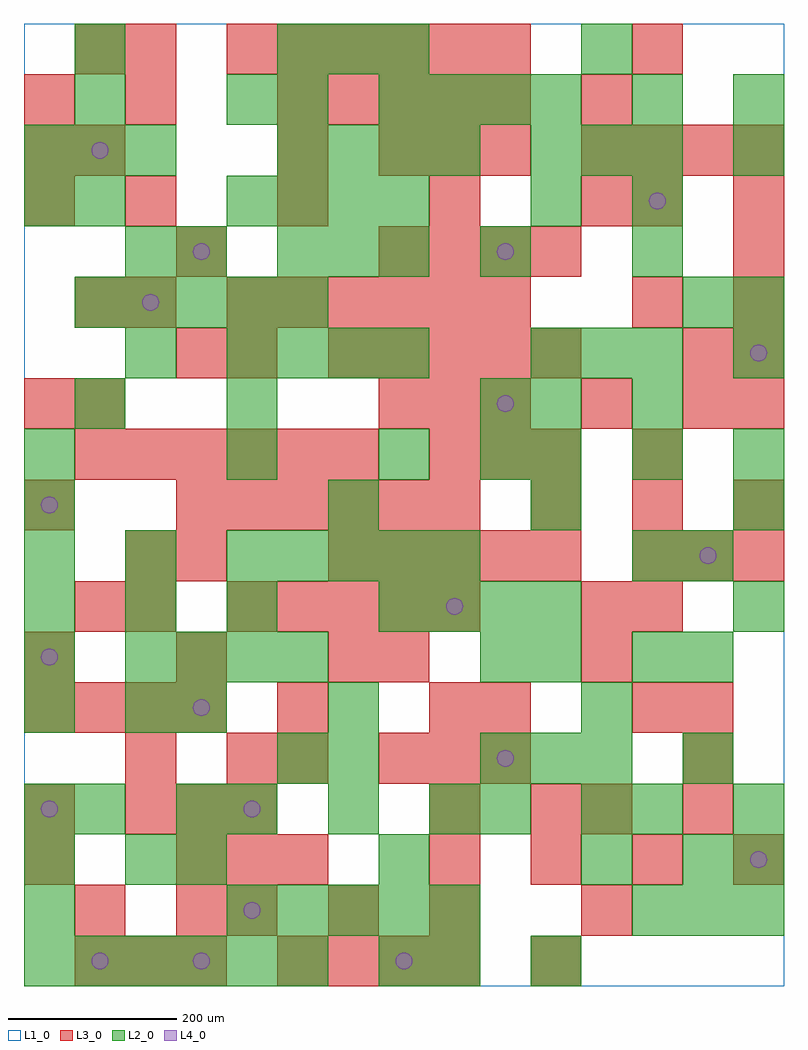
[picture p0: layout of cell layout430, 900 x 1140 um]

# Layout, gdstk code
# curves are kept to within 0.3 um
import gdstk
lib = gdstk.Library(unit=1e-6, precision=1e-09)
def R(c, l, rs):  # rectangles x0, y0, x1, y1
    for r in rs: c.add(gdstk.rectangle(r[:2], r[2:], *l))
def A(c, l, x, y, w, h, nx, ny, dx, dy):  # array of equal rectangles
    R(c, l, [(x+i*dx, y+j*dy, x+i*dx+w, y+j*dy+h) for i in range(nx) for j in range(ny)])
def P(c, l, *ps):  # polygons
    for p in ps: c.add(gdstk.Polygon(p, *l))
L1_0 = (1, 0)
L2_0 = (2, 0)
L3_0 = (3, 0)
L4_0 = (4, 0)

layout430 = lib.new_cell('layout430')
R(layout430, L1_0, [(0,0,900,1140)])
A(layout430, L2_0, 0, 0, 60, 60, 6, 1, 60, 0)
A(layout430, L2_0, 0, 60, 60, 60, 1, 3, 0, 60)
A(layout430, L2_0, 240, 60, 60, 60, 5, 1, 60, 0)
A(layout430, L2_0, 720, 60, 60, 60, 3, 1, 60, 0)
A(layout430, L2_0, 180, 120, 60, 60, 3, 1, 240, 0)
A(layout430, L2_0, 780, 120, 60, 60, 1, 4, 0, 120)
A(layout430, L2_0, 240, 180, 60, 60, 3, 1, 120, 0)
A(layout430, L2_0, 540, 240, 60, 60, 3, 1, 60, 0)
A(layout430, L2_0, 120, 360, 60, 60, 4, 1, 60, 0)
A(layout430, L2_0, 0, 420, 60, 60, 3, 2, 120, 60)
A(layout430, L2_0, 420, 420, 60, 60, 4, 2, 60, 600)
A(layout430, L2_0, 300, 480, 60, 60, 4, 2, 60, 480)
A(layout430, L2_0, 720, 480, 60, 60, 1, 3, 0, 180)
A(layout430, L2_0, 360, 540, 60, 60, 3, 1, 240, 0)
A(layout430, L2_0, 600, 600, 60, 60, 3, 1, 120, 0)
A(layout430, L2_0, 240, 720, 60, 60, 4, 2, 60, 180)
A(layout430, L2_0, 600, 720, 60, 60, 3, 2, 60, 240)
A(layout430, L2_0, 60, 780, 60, 60, 5, 1, 60, 0)
A(layout430, L2_0, 300, 840, 60, 60, 3, 2, 60, 240)
A(layout430, L2_0, 0, 960, 60, 60, 3, 1, 60, 0)
R(layout430, L2_0, [(420,0,480,60), (480,0,540,60), (600,0,660,60), (120,120,180,180), (840,120,900,180), (60,180,120,240), (180,180,240,240), (540,180,600,240), (660,180,720,240), (720,180,780,240), (840,180,900,240), (300,240,360,300), (360,240,420,300), (0,300,60,360), (120,300,180,360), (180,300,240,360), (360,300,420,360), (660,300,720,360), (0,360,60,420), (540,360,600,420), (600,360,660,420), (720,360,780,420), (840,420,900,480), (0,540,60,600), (0,600,60,660), (240,600,300,660), (420,600,480,660), (540,600,600,660), (60,660,120,720), (240,660,300,720), (540,660,600,720), (600,660,660,720), (120,720,180,780), (840,720,900,780), (780,780,840,840), (840,780,900,840), (120,840,180,900), (180,840,240,900), (540,840,600,900), (0,900,60,960), (60,900,120,960), (600,900,660,960), (720,900,780,960), (840,960,900,1020), (60,1020,120,1080), (240,1020,300,1080), (300,1020,360,1080), (720,1020,780,1080), (840,1020,900,1080), (60,1080,120,1140), (660,1080,720,1140)])
A(layout430, L3_0, 60, 0, 60, 60, 3, 1, 60, 0)
A(layout430, L3_0, 300, 0, 60, 60, 4, 1, 60, 0)
A(layout430, L3_0, 240, 60, 60, 60, 3, 1, 120, 0)
A(layout430, L3_0, 180, 120, 60, 60, 3, 1, 60, 0)
A(layout430, L3_0, 480, 120, 60, 60, 4, 1, 120, 0)
A(layout430, L3_0, 120, 180, 60, 60, 3, 1, 60, 0)
A(layout430, L3_0, 780, 180, 60, 60, 1, 3, 0, 60)
A(layout430, L3_0, 420, 240, 60, 60, 3, 2, 60, 420)
A(layout430, L3_0, 0, 300, 60, 60, 4, 1, 60, 0)
A(layout430, L3_0, 0, 360, 60, 60, 3, 1, 180, 0)
A(layout430, L3_0, 240, 420, 60, 60, 5, 1, 60, 0)
A(layout430, L3_0, 720, 420, 60, 60, 1, 3, 0, 180)
A(layout430, L3_0, 360, 480, 60, 60, 5, 2, 60, 240)
A(layout430, L3_0, 720, 480, 60, 60, 3, 1, 60, 0)
A(layout430, L3_0, 180, 540, 60, 60, 6, 1, 60, 0)
A(layout430, L3_0, 600, 540, 60, 60, 3, 1, 120, 0)
A(layout430, L3_0, 60, 600, 60, 60, 6, 1, 60, 0)
A(layout430, L3_0, 480, 600, 60, 60, 3, 1, 60, 0)
A(layout430, L3_0, 840, 660, 60, 60, 1, 5, 0, 60)
A(layout430, L3_0, 240, 780, 60, 60, 6, 2, 60, 300)
A(layout430, L3_0, 420, 840, 60, 60, 4, 1, 60, 0)
A(layout430, L3_0, 0, 900, 60, 60, 1, 3, 0, 60)
A(layout430, L3_0, 120, 900, 60, 60, 4, 1, 180, 0)
A(layout430, L3_0, 420, 960, 60, 60, 3, 1, 60, 0)
A(layout430, L3_0, 660, 960, 60, 60, 4, 1, 60, 0)
A(layout430, L3_0, 300, 1020, 60, 60, 5, 1, 60, 0)
R(layout430, L3_0, [(600,0,660,60), (60,60,120,120), (180,60,240,120), (660,60,720,120), (0,120,60,180), (0,180,60,240), (480,180,540,240), (600,180,660,240), (660,180,720,240), (120,240,180,300), (240,240,300,300), (300,240,360,300), (300,300,360,360), (480,300,540,360), (540,300,600,360), (720,300,780,360), (420,360,480,420), (660,360,720,420), (60,420,120,480), (120,420,180,480), (660,420,720,480), (120,480,180,540), (180,480,240,540), (0,540,60,600), (0,660,60,720), (60,660,120,720), (660,660,720,720), (780,660,840,720), (180,720,240,780), (240,720,300,780), (780,720,840,780), (60,780,120,840), (120,780,180,840), (180,840,240,900), (720,900,780,960), (60,960,120,1020), (300,960,360,1020), (120,1020,180,1080), (660,1020,720,1080), (60,1080,120,1140), (120,1080,180,1140), (720,1080,780,1140)])
P(layout430, L4_0, [(40,210),(39.239,213.827),(37.071,217.071),(33.827,219.239),(30,220),(26.173,219.239),(22.929,217.071),(20.761,213.827),(20,210),(20.761,206.173),(22.929,202.929),(26.173,200.761),(30,200),(33.827,200.761),(37.071,202.929),(39.239,206.173)],
  [(40,390),(39.239,393.827),(37.071,397.071),(33.827,399.239),(30,400),(26.173,399.239),(22.929,397.071),(20.761,393.827),(20,390),(20.761,386.173),(22.929,382.929),(26.173,380.761),(30,380),(33.827,380.761),(37.071,382.929),(39.239,386.173)],
  [(40,570),(39.239,573.827),(37.071,577.071),(33.827,579.239),(30,580),(26.173,579.239),(22.929,577.071),(20.761,573.827),(20,570),(20.761,566.173),(22.929,562.929),(26.173,560.761),(30,560),(33.827,560.761),(37.071,562.929),(39.239,566.173)],
  [(100,30),(99.239,33.827),(97.071,37.071),(93.827,39.239),(90,40),(86.173,39.239),(82.929,37.071),(80.761,33.827),(80,30),(80.761,26.173),(82.929,22.929),(86.173,20.761),(90,20),(93.827,20.761),(97.071,22.929),(99.239,26.173)],
  [(100,990),(99.239,993.827),(97.071,997.071),(93.827,999.239),(90,1000),(86.173,999.239),(82.929,997.071),(80.761,993.827),(80,990),(80.761,986.173),(82.929,982.929),(86.173,980.761),(90,980),(93.827,980.761),(97.071,982.929),(99.239,986.173)],
  [(160,810),(159.239,813.827),(157.071,817.071),(153.827,819.239),(150,820),(146.173,819.239),(142.929,817.071),(140.761,813.827),(140,810),(140.761,806.173),(142.929,802.929),(146.173,800.761),(150,800),(153.827,800.761),(157.071,802.929),(159.239,806.173)],
  [(220,30),(219.239,33.827),(217.071,37.071),(213.827,39.239),(210,40),(206.173,39.239),(202.929,37.071),(200.761,33.827),(200,30),(200.761,26.173),(202.929,22.929),(206.173,20.761),(210,20),(213.827,20.761),(217.071,22.929),(219.239,26.173)],
  [(220,330),(219.239,333.827),(217.071,337.071),(213.827,339.239),(210,340),(206.173,339.239),(202.929,337.071),(200.761,333.827),(200,330),(200.761,326.173),(202.929,322.929),(206.173,320.761),(210,320),(213.827,320.761),(217.071,322.929),(219.239,326.173)],
  [(220,870),(219.239,873.827),(217.071,877.071),(213.827,879.239),(210,880),(206.173,879.239),(202.929,877.071),(200.761,873.827),(200,870),(200.761,866.173),(202.929,862.929),(206.173,860.761),(210,860),(213.827,860.761),(217.071,862.929),(219.239,866.173)],
  [(280,90),(279.239,93.827),(277.071,97.071),(273.827,99.239),(270,100),(266.173,99.239),(262.929,97.071),(260.761,93.827),(260,90),(260.761,86.173),(262.929,82.929),(266.173,80.761),(270,80),(273.827,80.761),(277.071,82.929),(279.239,86.173)],
  [(280,210),(279.239,213.827),(277.071,217.071),(273.827,219.239),(270,220),(266.173,219.239),(262.929,217.071),(260.761,213.827),(260,210),(260.761,206.173),(262.929,202.929),(266.173,200.761),(270,200),(273.827,200.761),(277.071,202.929),(279.239,206.173)],
  [(460,30),(459.239,33.827),(457.071,37.071),(453.827,39.239),(450,40),(446.173,39.239),(442.929,37.071),(440.761,33.827),(440,30),(440.761,26.173),(442.929,22.929),(446.173,20.761),(450,20),(453.827,20.761),(457.071,22.929),(459.239,26.173)],
  [(520,450),(519.239,453.827),(517.071,457.071),(513.827,459.239),(510,460),(506.173,459.239),(502.929,457.071),(500.761,453.827),(500,450),(500.761,446.173),(502.929,442.929),(506.173,440.761),(510,440),(513.827,440.761),(517.071,442.929),(519.239,446.173)],
  [(580,270),(579.239,273.827),(577.071,277.071),(573.827,279.239),(570,280),(566.173,279.239),(562.929,277.071),(560.761,273.827),(560,270),(560.761,266.173),(562.929,262.929),(566.173,260.761),(570,260),(573.827,260.761),(577.071,262.929),(579.239,266.173)],
  [(580,690),(579.239,693.827),(577.071,697.071),(573.827,699.239),(570,700),(566.173,699.239),(562.929,697.071),(560.761,693.827),(560,690),(560.761,686.173),(562.929,682.929),(566.173,680.761),(570,680),(573.827,680.761),(577.071,682.929),(579.239,686.173)],
  [(580,870),(579.239,873.827),(577.071,877.071),(573.827,879.239),(570,880),(566.173,879.239),(562.929,877.071),(560.761,873.827),(560,870),(560.761,866.173),(562.929,862.929),(566.173,860.761),(570,860),(573.827,860.761),(577.071,862.929),(579.239,866.173)],
  [(760,930),(759.239,933.827),(757.071,937.071),(753.827,939.239),(750,940),(746.173,939.239),(742.929,937.071),(740.761,933.827),(740,930),(740.761,926.173),(742.929,922.929),(746.173,920.761),(750,920),(753.827,920.761),(757.071,922.929),(759.239,926.173)],
  [(820,510),(819.239,513.827),(817.071,517.071),(813.827,519.239),(810,520),(806.173,519.239),(802.929,517.071),(800.761,513.827),(800,510),(800.761,506.173),(802.929,502.929),(806.173,500.761),(810,500),(813.827,500.761),(817.071,502.929),(819.239,506.173)],
  [(880,150),(879.239,153.827),(877.071,157.071),(873.827,159.239),(870,160),(866.173,159.239),(862.929,157.071),(860.761,153.827),(860,150),(860.761,146.173),(862.929,142.929),(866.173,140.761),(870,140),(873.827,140.761),(877.071,142.929),(879.239,146.173)],
  [(880,750),(879.239,753.827),(877.071,757.071),(873.827,759.239),(870,760),(866.173,759.239),(862.929,757.071),(860.761,753.827),(860,750),(860.761,746.173),(862.929,742.929),(866.173,740.761),(870,740),(873.827,740.761),(877.071,742.929),(879.239,746.173)])

lib.write_gds('layout430.gds')
